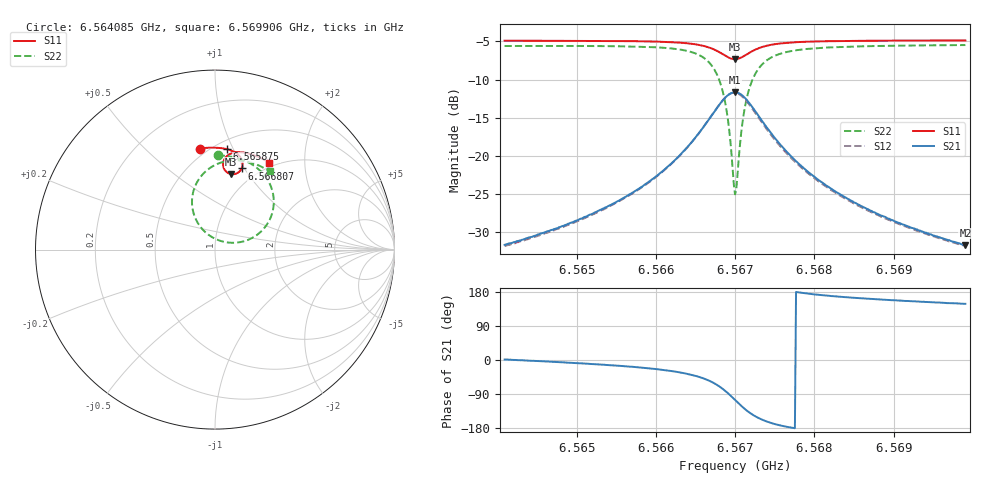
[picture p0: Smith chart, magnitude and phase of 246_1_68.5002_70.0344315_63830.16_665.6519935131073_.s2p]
#  HZ  S  RI  R  50.00
! Rohde & Schwarz Vector Network Analyzer
! Rohde-Schwarz,ZNB20-2Port,1311601062101988,3.16
! Created: UTC 3/20/2024, 4:59:38 PM
! freq[Hz]  re:S11  im:S11  re:S21  im:S21  re:S12  im:S12  re:S22  im:S22
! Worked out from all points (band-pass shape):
!   401 points, 6.564085 GHz to 6.569906 GHz, reference 50 ohm
!   highest |S21| = -11.65 dB at 6.566996 GHz (marker M1); lowest = -31.6 dB at 6.569906 GHz (marker M2)
!   |S21| within 3 dB of the highest: 6.566704 GHz to 6.567287 GHz (583.3 kHz wide, 0.00888 % of centre)
!   lowest |S11| = -7.3 dB at 6.566996 GHz (marker M3), VSWR 2.51, Z = 40.4 + j41.7 ohm
!   |S11| at or under -10 dB: nowhere
!   |S22| runs from -25.0 to -5.5 dB; largest |S21 - S12| = 0.012
!   S11 on the Smith chart (normalised r, x): 6.564085 GHz: 0.45, +0.76; 6.565875 GHz: 0.58, +0.95; 6.566807 GHz: 0.83, +0.97; 6.569906 GHz: 0.94, +1.34
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6.5640852e9  -0.0836 0.5629  0.0262 0.00061  0.0258 0.000194  0.0151 0.525
6.5650603e9  -0.00473 0.568  0.0385 -0.00606  0.0379 -0.00656  0.1045 0.5147
6.5658752e9  0.0686 0.559  0.0615 -0.0241  0.0605 -0.0247  0.202 0.4773
6.5660353e9  0.0848 0.5541  0.0691 -0.0321  0.068 -0.0329  0.2267 0.4608
6.5663409e9  0.1185 0.5374  0.0882 -0.0602  0.0866 -0.0613  0.2824 0.4052
6.5665592e9  0.1432 0.512  0.1016 -0.1043  0.0994 -0.1062  0.3215 0.32
6.5667048e9  0.1536 0.4814  0.0977 -0.1577  0.0939 -0.1605  0.3225 0.2179
6.5668066e9  0.1485 0.4522  0.0717 -0.2077  0.0652 -0.2105  0.2777 0.1239
6.566894e9  0.1282 0.4285  0.02 -0.2465  0.0104 -0.2469  0.184 0.0541
6.5669231e9  0.1177 0.4233  -0.00372 -0.2539  -0.0139 -0.2531  0.1413 0.0417
6.5669667e9  0.0999 0.4199  -0.0427 -0.2569  -0.0535 -0.2534  0.0715 0.0396
6.5669958e9  0.0876 0.421  -0.0694 -0.2522  -0.0797 -0.2469  0.0251 0.0502
6.5670249e9  0.0758 0.4251  -0.0944 -0.2426  -0.1041 -0.2353  -0.0176 0.0701
6.5670831e9  0.057 0.4401  -0.1355 -0.2109  -0.142 -0.2013  -0.084 0.1305
6.5671268e9  0.0486 0.4546  -0.155 -0.1814  -0.1593 -0.1711  -0.1134 0.1846
6.567185e9  0.045 0.4747  -0.1674 -0.1419  -0.1688 -0.1319  -0.1281 0.255
6.5672578e9  0.0489 0.4963  -0.1673 -0.0996  -0.1661 -0.0914  -0.1195 0.3283
6.5675197e9  0.088 0.5347  -0.1254 -0.0217  -0.1227 -0.0181  -0.0243 0.4575
6.5679709e9  0.1464 0.5423  -0.0746 0.00803  -0.0729 0.00903  0.0958 0.4967
6.5683929e9  0.1879 0.5348  -0.0519 0.013  -0.0507 0.0136  0.1629 0.4931
6.5689459e9  0.234 0.5192  -0.0361 0.0144  -0.0352 0.0145  0.225 0.4762
6.5699064e9  0.3033 0.4838  -0.0223 0.0138  -0.0216 0.0139  0.305 0.4368
